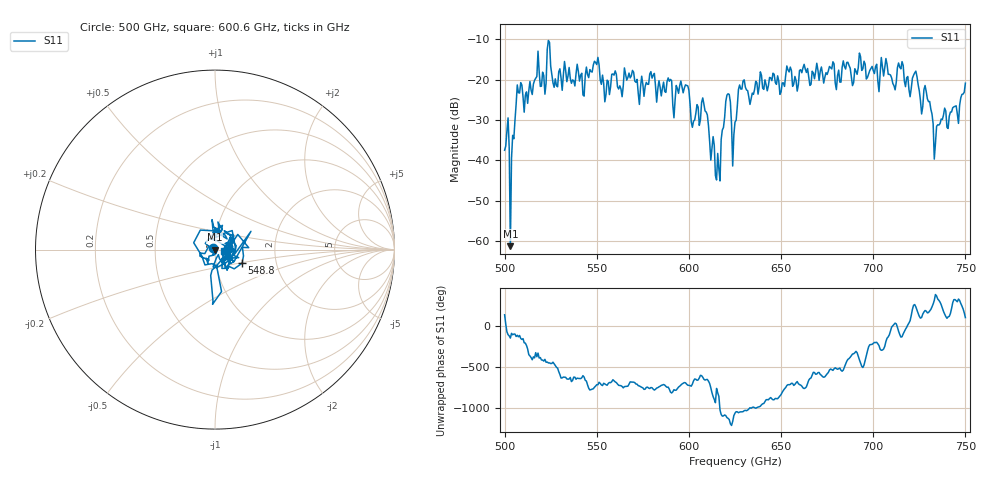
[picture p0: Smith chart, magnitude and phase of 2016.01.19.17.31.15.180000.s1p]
!Created with skrf (http://scikit-rf.org).
# GHz S RI R 50.0
!freq ReS11 ImS11
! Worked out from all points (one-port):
!   401 points, 500 GHz to 750 GHz, reference 50 ohm
!   lowest |S11| = -61.2 dB at 503.1 GHz (marker M1), VSWR 1.00, Z = 49.9 - j0.0414 ohm
!   |S11| at or under -10 dB: start of sweep to end of sweep
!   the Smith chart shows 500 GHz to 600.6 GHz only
!   S11 on the Smith chart (normalised r, x): 500 GHz: 0.98, +0.02; 548.8 GHz: 1.34, -0.21; 600.6 GHz: 1.10, -0.01
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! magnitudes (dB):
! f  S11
! 500 GHz  -37.5
! 503.1 GHz  -61.2
! 504.4 GHz  -33.8
! 505.6 GHz  -30.1
! 508.1 GHz  -23.3
! 521.2 GHz  -19.0
! 524.4 GHz  -10.8
! 527.5 GHz  -19.8
! 531.2 GHz  -22.7
! 548.8 GHz  -15.5
! 562.5 GHz  -21.5
! 568.8 GHz  -19.1
! 593.8 GHz  -22.2
! 600.6 GHz  -26.1
! 608.8 GHz  -27.8
! 615.6 GHz  -38.3
! 621.2 GHz  -23.5
! 625 GHz  -30.5
! 628.8 GHz  -22.3
! 656.2 GHz  -21.7
! 687.5 GHz  -17.2
! 705.6 GHz  -19.1
! 711.2 GHz  -21.5
! 715 GHz  -17.3
! 718.8 GHz  -19.2
! 728.8 GHz  -23.0
! 734.4 GHz  -31.6
! 750 GHz  -20.9
